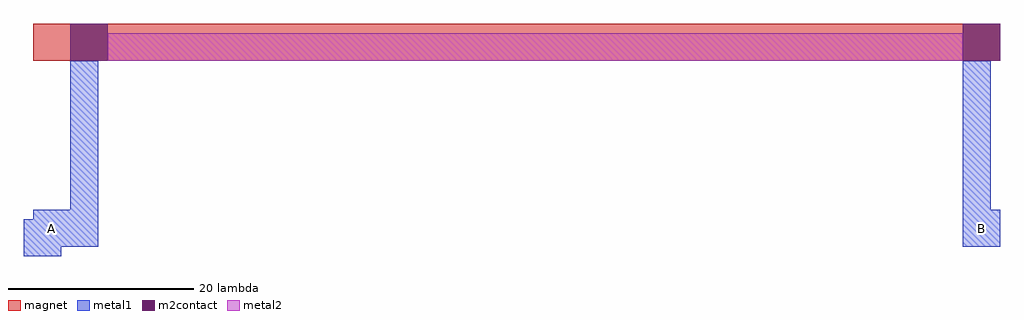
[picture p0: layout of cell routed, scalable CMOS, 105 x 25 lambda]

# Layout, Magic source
magic
tech scmos
<< magnet >>
rect 0 20 104 24
<< metal1 >>
rect 4 4 7 20
rect 0 3 7 4
rect -1 0 7 3
rect 100 4 103 20
rect 100 0 104 4
rect -1 -1 3 0
<< metal2 >>
rect 8 20 100 23
<< m2contact >>
rect 4 20 8 24
rect 100 20 104 24
<< labels >>
rlabel metal1 0 0 4 4 0 A
rlabel metal1 100 0 104 4 0 B
<< end >>
